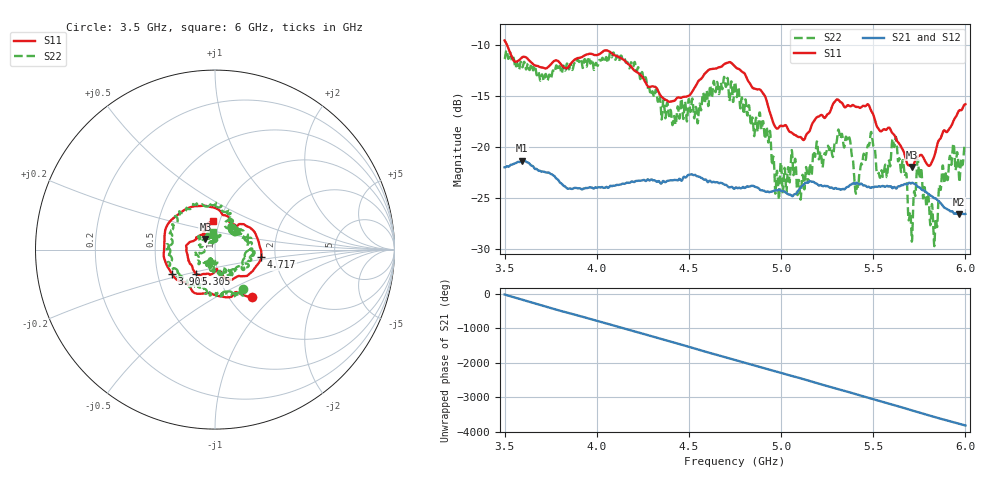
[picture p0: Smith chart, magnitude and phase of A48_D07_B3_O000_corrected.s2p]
! Created with skrf 1.9.0 (http://scikit-rf.org).
# Hz S RI R 50.0
!freq ReS11 ImS11 ReS21 ImS21 ReS12 ImS12 ReS22 ImS22
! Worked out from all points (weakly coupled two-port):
!   1601 points, 3.5 GHz to 6 GHz, reference 50 ohm
!   highest |S21| = -21.33 dB at 3.592 GHz (marker M1); lowest = -26.6 dB at 5.966 GHz (marker M2)
!   lowest |S11| = -22.0 dB at 5.709 GHz (marker M3), VSWR 1.17, Z = 44.7 + j5.36 ohm
!   |S11| at or under -10 dB: 3.514 GHz to end of sweep
!   |S22| runs from -29.8 to -10.5 dB; largest |S21 - S12| = 0.00096
!   S11 on the Smith chart (normalised r, x): 3.5 GHz: 1.27, -0.75; 3.909 GHz: 0.59, -0.17; 4.717 GHz: 1.69, -0.15; 5.305 GHz: 0.78, -0.22; 6 GHz: 0.93, +0.31
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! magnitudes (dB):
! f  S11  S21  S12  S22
! 3.5 GHz  -9.5  -22.0  -22.0  -11.3
! 3.592 GHz  -11.2  -21.3  -21.3  -11.8
! 3.909 GHz  -11.2  -24.1  -24.0  -11.4
! 3.917 GHz  -11.2  -24.2  -24.1  -11.5
! 4.334 GHz  -14.5  -23.3  -23.3  -15.4
! 4.717 GHz  -11.6  -24.0  -24.0  -15.0
! 4.75 GHz  -12.1  -24.1  -24.0  -13.6
! 4.931 GHz  -16.1  -24.4  -24.3  -19.6
! 4.978 GHz  -18.2  -24.3  -24.2  -22.3
! 5.167 GHz  -17.8  -23.4  -23.4  -22.6
! 5.305 GHz  -15.3  -24.1  -24.1  -19.1
! 5.367 GHz  -15.9  -23.9  -23.8  -19.2
! 5.409 GHz  -16.1  -23.5  -23.5  -24.3
! 5.484 GHz  -16.2  -24.0  -24.0  -18.9
! 5.584 GHz  -18.1  -23.9  -23.9  -21.4
! 5.617 GHz  -18.9  -23.9  -23.9  -19.6
! 5.709 GHz  -22.0  -23.5  -23.5  -29.3
! 5.748 GHz  -20.9  -24.0  -23.9  -22.8
! 5.838 GHz  -20.5  -25.0  -25.0  -27.3
! 5.869 GHz  -19.0  -25.6  -25.5  -23.8
! 5.966 GHz  -16.4  -26.6  -26.6  -23.2
! 6 GHz  -15.8  -26.6  -26.5  -20.0
